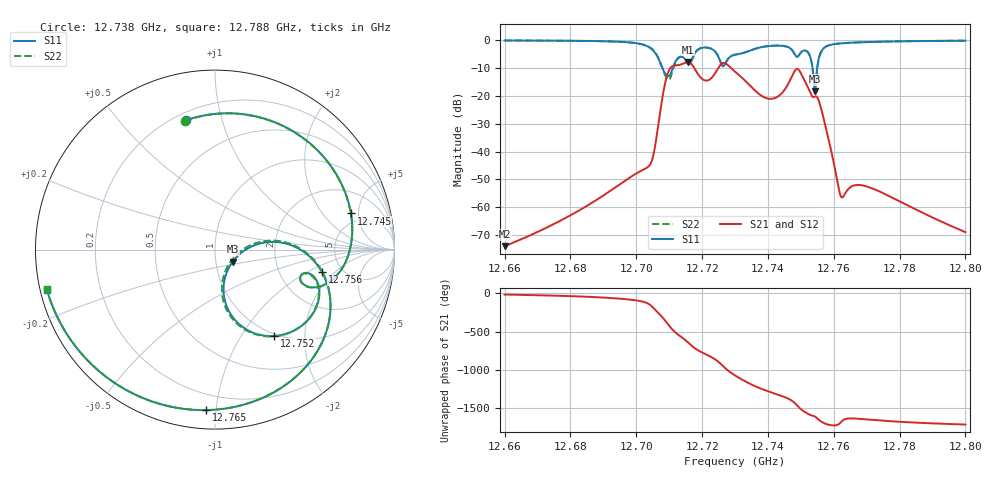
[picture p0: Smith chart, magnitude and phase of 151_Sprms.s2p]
! TOUCHSTONE file generated by CST MICROWAVE STUDIO
! Date and time: Wed Jul 31 18:27:42 2024
! Project name: WaveGuide_BPF-Ver4.1_U-shape_Ku_T3_C4_CWA_2.cst
! Parameters = {cavity_h=16; cavity_l0=10; cavity_l1=15.1642; cavity_l2=16.8524; cavity_l3=17.1145; cavity_l4=17.2289; cavity_l5=17.1573; cavity_l6=17.5844; cavity_r=2.5; cavity_screw_l=0.5; cavity_screw_r=1.5; cavity_w=8; iris_h00=0; iris_h01=8.8229; iris_h112=0; iris_h12=5.5948; iris_h211=3.6538; 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
! Header version: 2018
! Port assignment regex: !\s*Touchstone port\s*([0-9]+)\s*=\s*(CST MWS port|CST DS port)\s*([0-9]+|Zmin|Zmax)\s*\(\"(.*)\"\)(\s*mode\s*([0-9]+))?.*
! Touchstone port assignment:
! Touchstone port 1 = CST MWS port 1 ("")
! Touchstone port 2 = CST MWS port 2 ("")
# GHz S RI R 50
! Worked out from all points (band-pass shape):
!   5001 points, 12.66 GHz to 12.8 GHz, reference 50 ohm
!   highest |S21| = -7.83 dB at 12.716 GHz (marker M1); lowest = -74.0 dB at 12.66 GHz (marker M2)
!   |S21| within 3 dB of the highest: 12.70996 GHz to 12.71802 GHz (8.056 MHz wide, 0.0634 % of centre); 12.72452 GHz to 12.72954 GHz (5.015 MHz wide, 0.0394 % of centre) (the widest 2 of 3)
!   lowest |S11| = -18.4 dB at 12.754 GHz (marker M3), VSWR 1.27, Z = 60.4 - j8.16 ohm
!   |S11| at or under -10 dB: 12.70791 GHz to 12.71109 GHz (3.174 MHz wide, 0.025 % of centre); 12.75355 GHz to 12.75497 GHz (1.419 MHz wide, 0.0111 % of centre)
!   |S22| runs from -19.2 to -0.1 dB; largest |S21 - S12| = 1e-09
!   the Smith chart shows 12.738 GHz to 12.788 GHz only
!   S11 on the Smith chart (normalised r, x): 12.738 GHz: 0.24, +0.77; 12.745 GHz: 3.89, +4.05; 12.752 GHz: 0.97, -1.41; 12.756 GHz: 3.51, -1.42; 12.765 GHz: 0.10, -0.94; 12.788 GHz: 0.02, -0.12
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12.66  0.2182 0.9599  0.000191 -5.78e-05  0.000191 -5.78e-05  0.2234 0.9587
12.68335  0.5829 0.7722  0.00068 -0.000629  0.00068 -0.000629  0.5867 0.7696
12.7008  0.8614 -0.025  -0.000661 -0.00424  -0.000661 -0.00424  0.8639 -0.022
12.70668  -0.0378 -0.4723  -0.00711 0.0286  -0.00711 0.0286  -0.013 -0.4836
12.70995  -0.1132 0.1955  0.1395 -0.2501  0.1395 -0.2501  -0.1054 0.162
12.71275  0.0828 0.4751  -0.3553 0.00302  -0.3553 0.00302  0.0539 0.4666
12.71569  0.2472 0.2865  0.0657 0.4005  0.0657 0.4005  0.2402 0.2942
12.72202  0.7235 0.0213  -0.0152 -0.1914  -0.0152 -0.1914  0.7241 0.0285
12.7256  0.2793 -0.289  -0.3408 0.1114  -0.3408 0.1114  0.2882 -0.289
12.73  -0.0119 -0.5452  0.2684 0.0432  0.2684 0.0432  -0.00609 -0.5478
12.73367  -0.619 0.0317  0.0268 -0.1703  0.0268 -0.1703  -0.6192 0.0218
12.73764  -0.1607 0.7207  -0.0971 -0.0369  -0.0971 -0.0369  -0.1672 0.718
12.74478  0.7574 0.2011  -0.00516 0.1217  -0.00516 0.1217  0.7568 0.2014
12.75234  0.3296 -0.4816  -0.0956 -0.0943  -0.0956 -0.0943  0.3211 -0.4839
12.75335  0.0918 -0.3667  -0.0886 -0.0458  -0.0886 -0.0458  0.0821 -0.365
12.75428  0.0993 -0.0666  -0.0946 -0.0228  -0.0946 -0.0228  0.0905 -0.062
12.75612  0.5969 -0.1269  -0.0383 0.0466  -0.0383 0.0466  0.5943 -0.1181
12.762  0.2288 -0.8413  -0.000607 0.00154  -0.000607 0.00154  0.2294 -0.8405
12.765  -0.051 -0.8944  -0.00223 0.000447  -0.00223 0.000447  -0.0519 -0.894
12.77668  -0.7245 -0.6018  -0.00111 0.00116  -0.00111 0.00116  -0.7269 -0.5989
12.78802  -0.9362 -0.2249  -0.000222 0.00071  -0.000222 0.00071  -0.9373 -0.2203
12.8  -0.972 0.0712  5.48e-06 0.000357  5.48e-06 0.000357  -0.9717 0.0763
